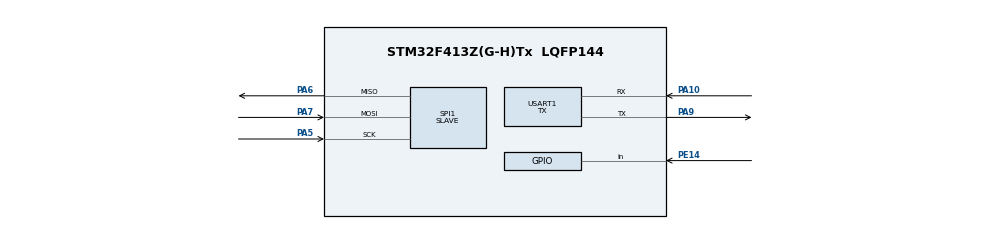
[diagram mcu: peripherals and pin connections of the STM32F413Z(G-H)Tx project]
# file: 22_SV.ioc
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Mcu.Family=STM32F4
Mcu.Name=STM32F413Z(G-H)Tx
Mcu.Package=LQFP144
NVIC.PriorityGroup=NVIC_PRIORITYGROUP_4
NVIC.SPI1_IRQn=true\:0\:0\:false\:false\:true\:true
NVIC.TIM1_UP_TIM10_IRQn=true\:0\:0\:false\:false\:true\:true
NVIC.USART1_IRQn=true\:0\:0\:false\:false\:true\:true
PA10.Mode=Asynchronous
PA10.Signal=USART1_RX
PA5.Mode=Full_Duplex_Slave
PA5.Signal=SPI1_SCK
PA6.Mode=Full_Duplex_Slave
PA6.Signal=SPI1_MISO
PA7.Mode=Full_Duplex_Slave
PA7.Signal=SPI1_MOSI
PA9.Mode=Asynchronous
PA9.Signal=USART1_TX
PE14.Signal=GPIO_Input
ProjectManager.HeapSize=0x200
ProjectManager.StackSize=0x400
ProjectManager.TargetToolchain=SW4STM32
RCC.CortexFreq_Value=16000000
RCC.USBFreq_Value=96000000
RCC.VCOOutputFreq_Value=192000000
SPI1.Direction=SPI_DIRECTION_2LINES
SPI1.Mode=SPI_MODE_SLAVE
SPI1.VirtualType=VM_SLAVE
TIM10.Period=999
TIM10.Prescaler=1599
USART1.Mode=MODE_TX
USART1.VirtualMode=VM_ASYNC
VP_TIM10_VS_ClockSourceINT.Mode=Enable_Timer
board=custom

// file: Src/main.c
/**
  ******************************************************************************
  * @file           : main.c
  * @brief          : Main program body
  ******************************************************************************
  ** This notice applies to any and all portions of this file
  * that are not between comment pairs USER CODE BEGIN and
  * USER CODE END. Other portions of this file, whether
  * inserted by the user or by software development tools
  * are owned by their respective copyright owners.
  *
  * COPYRIGHT(c) 2018 STMicroelectronics
  *
  * Redistribution and use in source and binary forms, with or without modification,
  * are permitted provided that the following conditions are met:
  *   1. Redistributions of source code must retain the above copyright notice,
  *      this list of conditions and the following disclaimer.
  *   2. Redistributions in binary form must reproduce the above copyright notice,
  *      this list of conditions and the following disclaimer in the documentation
  *      and/or other materials provided with the distribution.
  *   3. Neither the name of STMicroelectronics nor the names of its contributors
  *      may be used to endorse or promote products derived from this software
  *      without specific prior written permission.
  *
  * THIS SOFTWARE IS PROVIDED BY THE COPYRIGHT HOLDERS AND CONTRIBUTORS "AS IS"
  * AND ANY EXPRESS OR IMPLIED WARRANTIES, INCLUDING, BUT NOT LIMITED TO, THE
  * IMPLIED WARRANTIES OF MERCHANTABILITY AND FITNESS FOR A PARTICULAR PURPOSE ARE
  * DISCLAIMED. IN NO EVENT SHALL THE COPYRIGHT HOLDER OR CONTRIBUTORS BE LIABLE
  * FOR ANY DIRECT, INDIRECT, INCIDENTAL, SPECIAL, EXEMPLARY, OR CONSEQUENTIAL
  * DAMAGES (INCLUDING, BUT NOT LIMITED TO, PROCUREMENT OF SUBSTITUTE GOODS OR
  * SERVICES; LOSS OF USE, DATA, OR PROFITS; OR BUSINESS INTERRUPTION) HOWEVER
  * CAUSED AND ON ANY THEORY OF LIABILITY, WHETHER IN CONTRACT, STRICT LIABILITY,
  * OR TORT (INCLUDING NEGLIGENCE OR OTHERWISE) ARISING IN ANY WAY OUT OF THE USE
  * OF THIS SOFTWARE, EVEN IF ADVISED OF THE POSSIBILITY OF SUCH DAMAGE.
  *
  ******************************************************************************
  */
#include "main.h"
#include "stm32f4xx_hal.h"

/* USER CODE BEGIN Includes */
#include "time.h"
#include "stdlib.h"
#include "string.h"
/* USER CODE END Includes */

SPI_HandleTypeDef hspi1;

TIM_HandleTypeDef htim10;

UART_HandleTypeDef huart1;

/* USER CODE BEGIN PV */
/* Private variables ---------------------------------------------------------*/
uint8_t buforRx[1];
uint8_t buforAdr[1];
uint8_t buforCnt[1];

uint8_t data_bracket[6][1] ={{0},{0},{0},{0},{0},{0}};
uint8_t trash[1] = { 0xFF };

uint8_t var=0;
uint8_t flag = 1;
uint8_t calld=0;
uint8_t counter=0;
uint8_t data[1];
/* USER CODE END PV */

void SystemClock_Config(void);
static void MX_GPIO_Init(void);
static void MX_SPI1_Init(void);
static void MX_TIM10_Init(void);
static void MX_USART1_UART_Init(void);

/* USER CODE BEGIN PFP */

/* Private function prototypes -----------------------------------------------*/
void reset(){
	counter=0;
	calld=0;
	var=0;
	__enable_irq();
	data[0] = 69;
	HAL_UART_Transmit(&huart1, data, 1, 20);
}

void HAL_SPI_RxCpltCallback(SPI_HandleTypeDef *hspi) {
	flag = 1;
}

void HAL_TIM_PeriodElapsedCallback(TIM_HandleTypeDef *htim){
	if(htim->Instance == TIM10){
		for(uint8_t i=0; i<6; i++){
			data_bracket[i][0] = rand()%10;
		}
	}
}

/* USER CODE END PFP */

int main(void)
{

  /* MCU Configuration----------------------------------------------------------*/

  /* Reset of all peripherals, Initializes the Flash interface and the Systick. */
  HAL_Init();

  /* Configure the system clock */
  SystemClock_Config();

  /* Initialize all configured peripherals */
  MX_GPIO_Init();
  MX_SPI1_Init();
  MX_TIM10_Init();
  MX_USART1_UART_Init();
  /* USER CODE BEGIN 2 */
  HAL_TIM_Base_Start_IT(&htim10);
  srand(time(NULL));

  /* USER CODE END 2 */

  /* Infinite loop */
  /* USER CODE BEGIN WHILE */
	while (1) {
		if (flag == 1) {
			flag = 0;
			switch (calld) {
				case 0:
					HAL_SPI_Transmit(&hspi1, trash, 1, 20);
					HAL_UART_Transmit(&huart1, trash, 1, 20);
					var++;
					break;
				case 1:
					if (counter+buforAdr[0]>6 && counter<buforCnt[0]){
						counter++;
						HAL_SPI_Transmit(&hspi1, trash, 1, 20);
						HAL_UART_Transmit(&huart1, trash, 1, 20);
						data[0] = 44;
						HAL_UART_Transmit(&huart1, data, 1, 20);
					}
					if (counter < buforCnt[0] ){
						counter++;
						HAL_SPI_Transmit(&hspi1, data_bracket[counter-1+buforAdr[0]], 1, 20);
						HAL_UART_Transmit(&huart1, data_bracket[counter-1+buforAdr[0]], 1, 20);
					}
					__disable_irq();
					if (counter==buforCnt[0]){
						reset();
						HAL_SPI_Receive_IT(&hspi1, buforRx, 1);
						while (flag!=1) {}
					}
					__enable_irq();
					if (counter>buforCnt[0]){
						data[0] = 137;
						HAL_UART_Transmit(&huart1, data, 1, 20);
					}

					break;
			}

			while (HAL_GPIO_ReadPin(GPIOE, GPIO_PIN_14) != GPIO_PIN_RESET) {}
			switch (var){
				case 1:
					HAL_SPI_Receive_IT(&hspi1, buforRx, 1);
					while (flag!=1) {}
					if (buforRx[0]<=5){
						__disable_irq();
						memcpy(buforAdr, buforRx, 1);
						__enable_irq();
					}
					else{
						while (buforRx[0]>5){
							HAL_SPI_Transmit(&hspi1, trash, 1, 20);
							while (HAL_GPIO_ReadPin(GPIOE, GPIO_PIN_14) != GPIO_PIN_RESET) {}
							HAL_SPI_Receive_IT(&hspi1, buforRx, 1);
							while (flag!=1) {}
						}
						__disable_irq();
						memcpy(buforAdr, buforRx, 1);
						__enable_irq();
					}
					break;
				case 2:
					HAL_SPI_Receive_IT(&hspi1, buforRx, 1);
					while (flag!=1) {}
					if(buforRx[0] <=20 && buforRx[0] >= 1){
						__disable_irq();
						memcpy(buforCnt, buforRx, 1);
						__enable_irq();
						var++;
						calld=1;
					}
					else{
						reset();
						if (buforCnt[0] < 1){
							data[0] = 77;
							HAL_UART_Transmit(&huart1, data, 1, 20);
						}
						else if (buforCnt[0] > 20){
							data[0]=33;
							HAL_UART_Transmit(&huart1, data, 1, 20);
						}
					}
					break;
				case 3:
					HAL_SPI_Receive_IT(&hspi1, buforRx, 1);
					while (flag!=1) {}
					break;
			}
		}
	}
  /* USER CODE END WHILE */

}

void SystemClock_Config(void)
{

  RCC_OscInitTypeDef RCC_OscInitStruct;
  RCC_ClkInitTypeDef RCC_ClkInitStruct;

    /**Configure the main internal regulator output voltage
    */
  __HAL_RCC_PWR_CLK_ENABLE();

  __HAL_PWR_VOLTAGESCALING_CONFIG(PWR_REGULATOR_VOLTAGE_SCALE1);

    /**Initializes the CPU, AHB and APB busses clocks
    */
  RCC_OscInitStruct.OscillatorType = RCC_OSCILLATORTYPE_HSI;
  RCC_OscInitStruct.HSIState = RCC_HSI_ON;
  RCC_OscInitStruct.HSICalibrationValue = 16;
  RCC_OscInitStruct.PLL.PLLState = RCC_PLL_NONE;
  if (HAL_RCC_OscConfig(&RCC_OscInitStruct) != HAL_OK)
  {
    _Error_Handler(__FILE__, __LINE__);
  }

    /**Initializes the CPU, AHB and APB busses clocks
    */
  RCC_ClkInitStruct.ClockType = RCC_CLOCKTYPE_HCLK|RCC_CLOCKTYPE_SYSCLK
                              |RCC_CLOCKTYPE_PCLK1|RCC_CLOCKTYPE_PCLK2;
  RCC_ClkInitStruct.SYSCLKSource = RCC_SYSCLKSOURCE_HSI;
  RCC_ClkInitStruct.AHBCLKDivider = RCC_SYSCLK_DIV1;
  RCC_ClkInitStruct.APB1CLKDivider = RCC_HCLK_DIV1;
  RCC_ClkInitStruct.APB2CLKDivider = RCC_HCLK_DIV1;

  if (HAL_RCC_ClockConfig(&RCC_ClkInitStruct, FLASH_LATENCY_0) != HAL_OK)
  {
    _Error_Handler(__FILE__, __LINE__);
  }

    /**Configure the Systick interrupt time
    */
  HAL_SYSTICK_Config(HAL_RCC_GetHCLKFreq()/1000);

    /**Configure the Systick
    */
  HAL_SYSTICK_CLKSourceConfig(SYSTICK_CLKSOURCE_HCLK);

  /* SysTick_IRQn interrupt configuration */
  HAL_NVIC_SetPriority(SysTick_IRQn, 0, 0);
}

/* SPI1 init function */
static void MX_SPI1_Init(void)
{

  /* SPI1 parameter configuration*/
  hspi1.Instance = SPI1;
  hspi1.Init.Mode = SPI_MODE_SLAVE;
  hspi1.Init.Direction = SPI_DIRECTION_2LINES;
  hspi1.Init.DataSize = SPI_DATASIZE_8BIT;
  hspi1.Init.CLKPolarity = SPI_POLARITY_LOW;
  hspi1.Init.CLKPhase = SPI_PHASE_1EDGE;
  hspi1.Init.NSS = SPI_NSS_SOFT;
  hspi1.Init.FirstBit = SPI_FIRSTBIT_MSB;
  hspi1.Init.TIMode = SPI_TIMODE_DISABLE;
  hspi1.Init.CRCCalculation = SPI_CRCCALCULATION_DISABLE;
  hspi1.Init.CRCPolynomial = 10;
  if (HAL_SPI_Init(&hspi1) != HAL_OK)
  {
    _Error_Handler(__FILE__, __LINE__);
  }

}

/* TIM10 init function */
static void MX_TIM10_Init(void)
{

  htim10.Instance = TIM10;
  htim10.Init.Prescaler = 1599;
  htim10.Init.CounterMode = TIM_COUNTERMODE_UP;
  htim10.Init.Period = 999;
  htim10.Init.ClockDivision = TIM_CLOCKDIVISION_DIV1;
  if (HAL_TIM_Base_Init(&htim10) != HAL_OK)
  {
    _Error_Handler(__FILE__, __LINE__);
  }

}

/* USART1 init function */
static void MX_USART1_UART_Init(void)
{

  huart1.Instance = USART1;
  huart1.Init.BaudRate = 115200;
  huart1.Init.WordLength = UART_WORDLENGTH_8B;
  huart1.Init.StopBits = UART_STOPBITS_1;
  huart1.Init.Parity = UART_PARITY_NONE;
  huart1.Init.Mode = UART_MODE_TX;
  huart1.Init.HwFlowCtl = UART_HWCONTROL_NONE;
  huart1.Init.OverSampling = UART_OVERSAMPLING_16;
  if (HAL_UART_Init(&huart1) != HAL_OK)
  {
    _Error_Handler(__FILE__, __LINE__);
  }

}

/** Configure pins as
        * Analog
        * Input
        * Output
        * EVENT_OUT
        * EXTI
*/
static void MX_GPIO_Init(void)
{

  GPIO_InitTypeDef GPIO_InitStruct;

  /* GPIO Ports Clock Enable */
  __HAL_RCC_GPIOA_CLK_ENABLE();
  __HAL_RCC_GPIOE_CLK_ENABLE();

  /*Configure GPIO pin : PE14 */
  GPIO_InitStruct.Pin = GPIO_PIN_14;
  GPIO_InitStruct.Mode = GPIO_MODE_INPUT;
  GPIO_InitStruct.Pull = GPIO_NOPULL;
  HAL_GPIO_Init(GPIOE, &GPIO_InitStruct);

}

void _Error_Handler(char *file, int line)
{
	while (1) {
	}
}

/************************ (C) COPYRIGHT STMicroelectronics *****END OF FILE****/
